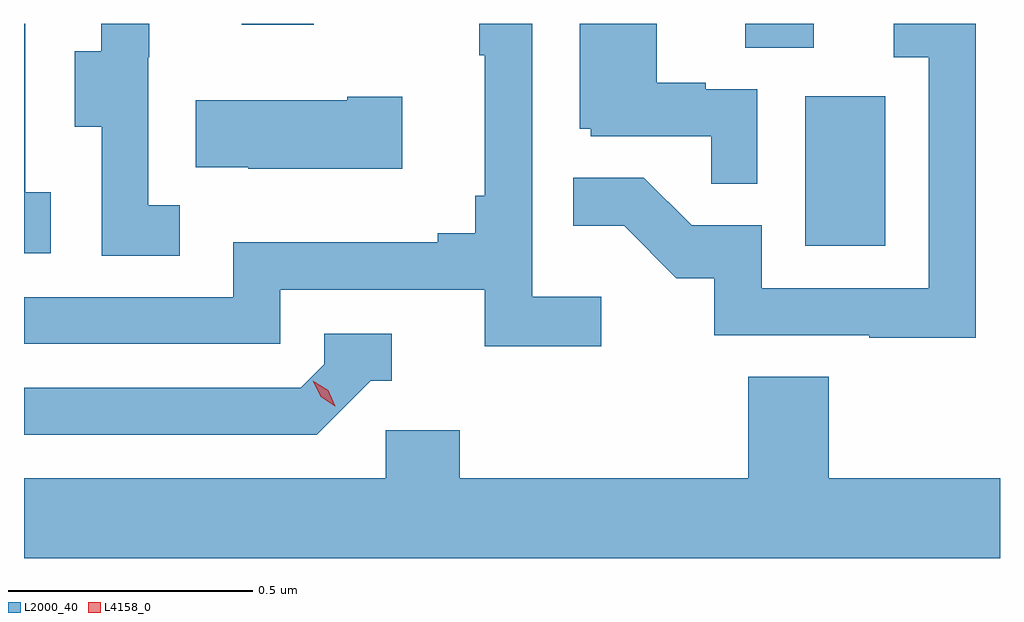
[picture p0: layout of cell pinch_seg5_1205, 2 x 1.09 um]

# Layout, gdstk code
import gdstk
lib = gdstk.Library(unit=1e-6, precision=1e-09)
def R(c, l, rs):  # rectangles x0, y0, x1, y1
    for r in rs: c.add(gdstk.rectangle(r[:2], r[2:], *l))
def P(c, l, *ps):  # polygons
    for p in ps: c.add(gdstk.Polygon(p, *l))
L2000_40 = (2000, 40)
L4158_0 = (4158, 0)

pinch_seg5_1205 = lib.new_cell('pinch_seg5_1205')
R(pinch_seg5_1205, L2000_40, [(868.436,837.42,868.6,837.727), (868.313,837.826,868.453,837.875), (867.281,837.873,867.429,837.875)])
P(pinch_seg5_1205, L2000_40, [(868.338,837.741),(868.232,837.741),(868.232,837.754),(868.132,837.754),(868.132,837.875),(867.974,837.875),(867.974,837.66),(867.996,837.66),(867.996,837.645),(868.243,837.645),(868.243,837.547),(868.338,837.547)],
  [(867.154,837.503),(867.09,837.503),(867.09,837.807),(867.092,837.807),(867.092,837.875),(866.993,837.875),(866.993,837.819),(866.939,837.819),(866.939,837.664),(866.994,837.664),(866.994,837.4),(867.154,837.4)],
  [(866.89,837.53),(866.838,837.53),(866.838,837.875),(866.835,837.875),(866.835,837.405),(866.89,837.405)],
  [(868.018,837.316),(867.876,837.316),(867.876,837.875),(867.768,837.875),(867.768,837.811),(867.779,837.811),(867.779,837.523),(867.76,837.523),(867.76,837.446),(867.683,837.446),(867.683,837.427),(867.264,837.427),(867.264,837.315),(866.835,837.315),(866.835,837.219),(867.36,837.219),(867.36,837.33),(867.779,837.33),(867.779,837.214),(868.018,837.214)],
  [(868.785,837.875),(868.617,837.875),(868.617,837.807),(868.689,837.807),(868.689,837.333),(868.347,837.333),(868.347,837.462),(868.203,837.462),(868.105,837.56),(867.961,837.56),(867.961,837.461),(868.065,837.461),(868.172,837.354),(868.249,837.354),(868.249,837.237),(868.567,837.237),(868.567,837.232),(868.785,837.232)],
  [(867.61,837.726),(867.497,837.726),(867.497,837.718),(867.187,837.718),(867.187,837.581),(867.295,837.581),(867.295,837.578),(867.61,837.578)],
  [(867.546,837.144),(867.589,837.144),(867.589,837.24),(867.45,837.24),(867.45,837.177),(867.402,837.129),(866.835,837.129),(866.835,837.033),(867.435,837.033)],
  [(868.835,836.944),(868.484,836.944),(868.484,837.152),(868.319,837.152),(868.319,836.944),(867.728,836.944),(867.728,837.042),(867.576,837.042),(867.576,836.944),(866.835,836.944),(866.835,836.78),(868.835,836.78)])
P(pinch_seg5_1205, L4158_0, [(867.473,837.091),(867.443,837.111),(867.427,837.144),(867.427,837.144),(867.427,837.144),(867.458,837.124),(867.473,837.091),(867.473,837.091)])

lib.write_gds('pinch_seg5_1205.gds')
